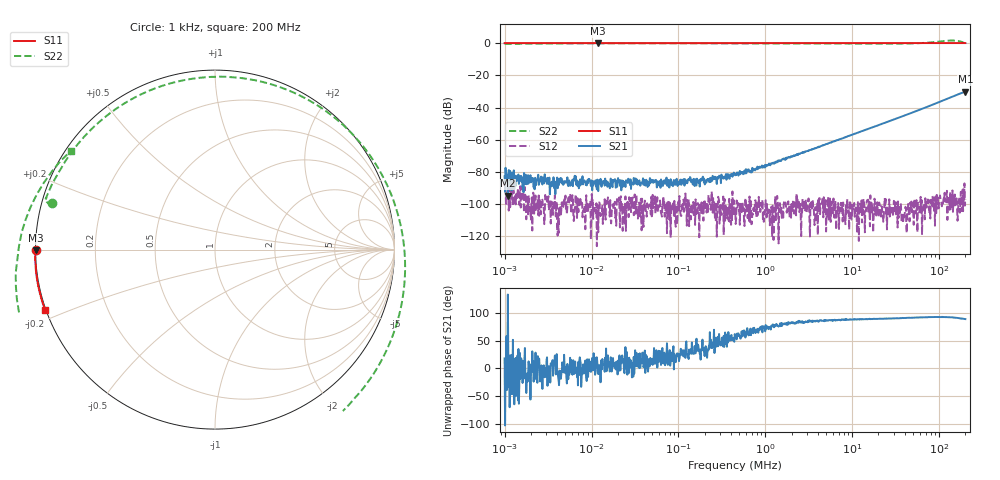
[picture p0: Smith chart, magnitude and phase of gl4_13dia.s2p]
! ListType=Log
# MHZ S RI R 50
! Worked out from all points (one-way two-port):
!   1000 points, 1 kHz to 200 MHz, reference 50 ohm
!   highest |S21| = -30.08 dB at 200 MHz (marker M1); lowest = -94.7 dB at 1.089 kHz (marker M2)
!   lowest |S11| = 0.0 dB at 11.95 kHz (marker M3), VSWR 654.81, Z = 0.0764 - j0.0756 ohm
!   |S11| at or under -10 dB: nowhere
!   |S22| runs from -0.5 to 1.7 dB; largest |S21 - S12| = 0.031
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0.001  -0.9994 0.000223  7.1e-05 2.28e-05  -1.15e-05 -2.99e-05  -0.9089 0.26
0.0010893  -1.001 -5.79e-05  -1.26e-05 1.35e-05  1.98e-05 -3.7e-06  -0.9111 0.2599
0.0076941  -0.9996 -2.31e-05  4.76e-05 -1.35e-05  -2.1e-06 8.4e-06  -0.9422 0.2759
0.011945  -0.9969 -0.00301  2.52e-05 -4.6e-06  -1.2e-06 6e-07  -0.9435 0.2782
0.0584804  -0.9994 -0.000178  4.25e-05 1.55e-05  1.1e-06 -7.5e-06  -0.9406 0.2882
0.4499541  -0.9998 -0.00109  4.44e-05 6.55e-05  1.8e-06 7.1e-06  -0.9349 0.303
0.6900649  -1 -0.00168  4.53e-05 9.81e-05  -1e-07 -2.4e-06  -0.9314 0.3112
3.419952  -1 -0.00681  5.1e-05 0.000489  -1.8e-06 -7.2e-06  -0.8867 0.4028
12.03851  -1.001 -0.0225  5.83e-05 0.00173  -7.5e-06 -3e-07  -0.7122 0.6466
26.31347  -1.001 -0.0479  1.83e-05 0.00376  3.6e-06 -3.5e-06  -0.3118 0.9064
38.43037  -1.001 -0.069  -5.99e-05 0.00547  1.2e-06 -2.3e-06  0.0882 0.9611
50.9003  -0.9997 -0.0905  -0.000168 0.00728  -1e-07 -2.3e-06  0.4925 0.8486
64.99008  -0.998 -0.1147  -0.000312 0.00936  6e-06 -3.9e-06  0.8567 0.5339
81.97236  -0.9947 -0.1435  -0.000502 0.012  5.3e-06 -7.1e-06  1.057 -0.0223
92.62555  -0.9922 -0.1614  -0.000599 0.0137  -3.4e-06 -4.1e-06  1.016 -0.4025
103.3922  -0.9891 -0.1796  -0.000684 0.0154  -9.6e-06 -1.12e-05  0.8402 -0.7545
116.8291  -0.985 -0.2018  -0.000736 0.0176  1.25e-05 -4.9e-06  0.4616 -1.075
128.8255  -0.9807 -0.2215  -0.000723 0.0196  -1.25e-05 -1.01e-05  0.0311 -1.195
145.5678  -0.9739 -0.2488  -0.00054 0.0225  5.8e-06 -1.22e-05  -0.5687 -1.06
164.4859  -0.9655 -0.279  -0.000326 0.0256  4.6e-06 -3.3e-06  -1.028 -0.5582
179.1732  -0.9586 -0.3046  0.00016 0.0281  -1.87e-05 -8.8e-06  -1.102 -0.0581
200  -0.9473 -0.3341  0.000712 0.0313  -1.29e-05 -6.6e-06  -0.8026 0.5506
